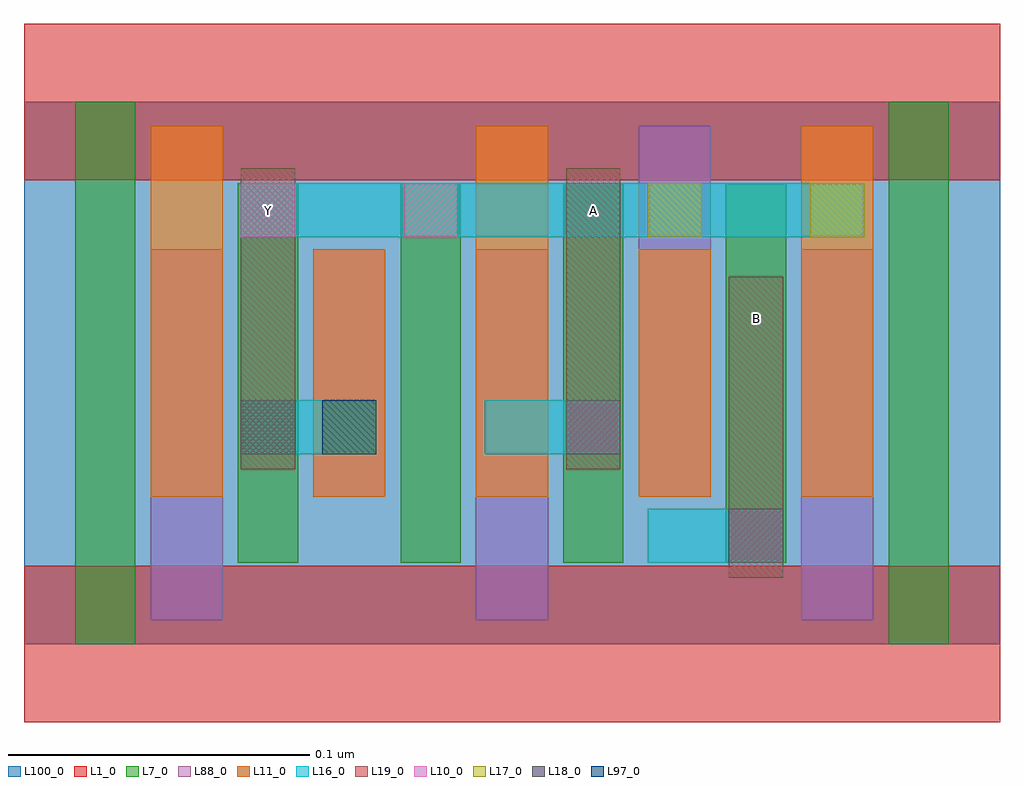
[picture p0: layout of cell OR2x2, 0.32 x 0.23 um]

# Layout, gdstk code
import gdstk
lib = gdstk.Library(unit=1e-6, precision=2.5e-10)
def R(c, l, rs):  # rectangles x0, y0, x1, y1
    for r in rs: c.add(gdstk.rectangle(r[:2], r[2:], *l))
def A(c, l, x, y, w, h, nx, ny, dx, dy):  # array of equal rectangles
    R(c, l, [(x+i*dx, y+j*dy, x+i*dx+w, y+j*dy+h) for i in range(nx) for j in range(ny)])
L1_0 = (1, 0)
L7_0 = (7, 0)
L10_0 = (10, 0)
L11_0 = (11, 0)
L16_0 = (16, 0)
L17_0 = (17, 0)
L18_0 = (18, 0)
L19_0 = (19, 0)
L88_0 = (88, 0)
L97_0 = (97, 0)
L100_0 = (100, 0)

or2x2 = lib.new_cell('OR2x2')
R(or2x2, L1_0, [(0,-0.026,0.324,0.026), (0,0.154,0.324,0.206)])
A(or2x2, L7_0, 0.071, 0.027, 0.02, 0.126, 4, 1, 0.054, 0)
R(or2x2, L7_0, [(0.017,0,0.037,0.18), (0.287,0,0.307,0.18)])
R(or2x2, L10_0, [(0.234,0.027,0.252,0.045), (0.18,0.063,0.198,0.081), (0.072,0.135,0.09,0.153), (0.126,0.135,0.144,0.153)])
A(or2x2, L11_0, 0.042, 0.049, 0.024, 0.123, 3, 1, 0.108, 0)
R(or2x2, L11_0, [(0.096,0.049,0.12,0.131), (0.204,0.049,0.228,0.131)])
R(or2x2, L16_0, [(0.207,0.027,0.252,0.045), (0.072,0.063,0.117,0.081), (0.153,0.063,0.198,0.081), (0.072,0.135,0.279,0.153)])
R(or2x2, L17_0, [(0.099,0.063,0.117,0.081), (0.207,0.135,0.225,0.153), (0.261,0.135,0.279,0.153)])
R(or2x2, L18_0, [(0.234,0.027,0.252,0.045), (0.072,0.063,0.09,0.081), (0.18,0.063,0.198,0.081)])
R(or2x2, L19_0, [(0.234,0.022,0.252,0.122), (0.072,0.058,0.09,0.158), (0.18,0.058,0.198,0.158)])
A(or2x2, L88_0, 0.042, 0.008, 0.024, 0.123, 3, 1, 0.108, 0)
R(or2x2, L88_0, [(0.096,0.049,0.12,0.131), (0.204,0.049,0.228,0.172)])
R(or2x2, L97_0, [(0.099,0.063,0.117,0.081)])
R(or2x2, L100_0, [(0,0,0.324,0.18)])
or2x2.add(gdstk.Label('A', (0.189,0.144), layer=19, texttype=251))
or2x2.add(gdstk.Label('B', (0.243,0.108), layer=19, texttype=251))
or2x2.add(gdstk.Label('Y', (0.081,0.144), layer=19, texttype=251))

lib.write_gds('OR2x2.gds')
